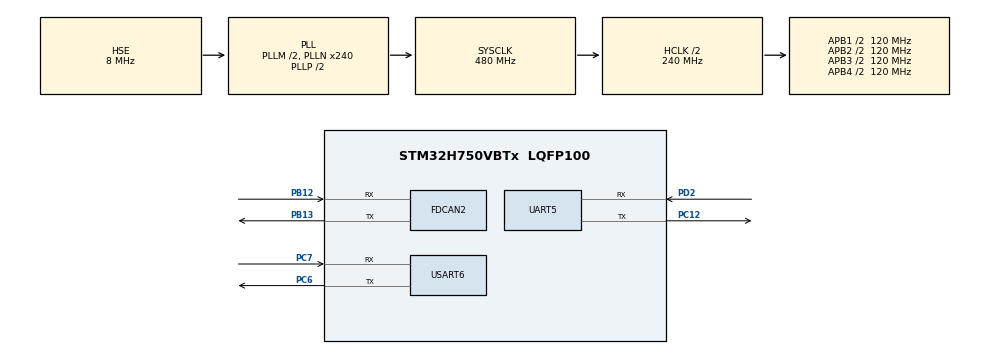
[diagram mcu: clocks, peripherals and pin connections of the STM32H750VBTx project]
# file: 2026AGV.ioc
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CORTEX_M7.AccessPermission-Cortex_Memory_Protection_Unit_Region1_Settings=MPU_REGION_FULL_ACCESS
CORTEX_M7.BaseAddress-Cortex_Memory_Protection_Unit_Region1_Settings=0x30000000
CORTEX_M7.CPU_DCache=Enabled
CORTEX_M7.CPU_ICache=Enabled
CORTEX_M7.DisableExec-Cortex_Memory_Protection_Unit_Region1_Settings=MPU_INSTRUCTION_ACCESS_DISABLE
CORTEX_M7.Enable-Cortex_Memory_Protection_Unit_Region1_Settings=MPU_REGION_ENABLE
CORTEX_M7.IsBufferable-Cortex_Memory_Protection_Unit_Region1_Settings=MPU_ACCESS_NOT_BUFFERABLE
CORTEX_M7.IsCacheable-Cortex_Memory_Protection_Unit_Region1_Settings=MPU_ACCESS_NOT_CACHEABLE
CORTEX_M7.IsShareable-Cortex_Memory_Protection_Unit_Region1_Settings=MPU_ACCESS_SHAREABLE
CORTEX_M7.Size-Cortex_Memory_Protection_Unit_Region1_Settings=MPU_REGION_SIZE_256B
CORTEX_M7.TypeExtField-Cortex_Memory_Protection_Unit_Region1_Settings=MPU_TEX_LEVEL1
CORTEX_M7.default_mode_Activation=1
Dma.Request0=UART5_RX
Dma.UART5_RX.0.Direction=DMA_PERIPH_TO_MEMORY
Dma.UART5_RX.0.EventEnable=DISABLE
Dma.UART5_RX.0.FIFOMode=DMA_FIFOMODE_DISABLE
Dma.UART5_RX.0.Instance=DMA1_Stream0
Dma.UART5_RX.0.MemDataAlignment=DMA_MDATAALIGN_BYTE
Dma.UART5_RX.0.MemInc=DMA_MINC_ENABLE
Dma.UART5_RX.0.Mode=DMA_CIRCULAR
Dma.UART5_RX.0.PeriphDataAlignment=DMA_PDATAALIGN_BYTE
Dma.UART5_RX.0.PeriphInc=DMA_PINC_DISABLE
Dma.UART5_RX.0.Polarity=HAL_DMAMUX_REQ_GEN_RISING
Dma.UART5_RX.0.Priority=DMA_PRIORITY_LOW
Dma.UART5_RX.0.RequestNumber=1
Dma.UART5_RX.0.SignalID=NONE
Dma.UART5_RX.0.SyncEnable=DISABLE
Dma.UART5_RX.0.SyncPolarity=HAL_DMAMUX_SYNC_NO_EVENT
Dma.UART5_RX.0.SyncRequestNumber=1
Dma.UART5_RX.0.SyncSignalID=NONE
FDCAN2.AutoRetransmission=ENABLE
FDCAN2.CalculateBaudRateNominal=1000000
FDCAN2.CalculateTimeBitNominal=1000
FDCAN2.CalculateTimeQuantumNominal=50.0
FDCAN2.NominalPrescaler=6
FDCAN2.NominalSyncJumpWidth=4
FDCAN2.NominalTimeSeg1=15
FDCAN2.NominalTimeSeg2=4
FDCAN2.RxFifo0ElmtsNbr=16
FDCAN2.TxFifoQueueElmtsNbr=16
FREERTOS.configCHECK_FOR_STACK_OVERFLOW=2
FREERTOS.Tasks01=IMUTask,40,256,StartIMUTask,Default,NULL,Dynamic,NULL,NULL;ChassisTask,32,512,StartChassisTask,Default,NULL,Dynamic,NULL,NULL
Mcu.Family=STM32H7
Mcu.Name=STM32H750VBTx
Mcu.Package=LQFP100
NVIC.DMA1_Stream0_IRQn=true\:6\:0\:true\:false\:true\:true\:false\:true\:true
NVIC.FDCAN2_IT0_IRQn=true\:5\:0\:true\:false\:true\:true\:true\:true\:true
NVIC.PriorityGroup=NVIC_PRIORITYGROUP_4
NVIC.TIM6_DAC_IRQn=true\:15\:0\:false\:false\:true\:false\:false\:true\:true
NVIC.TimeBase=TIM6_DAC_IRQn
NVIC.TimeBaseIP=TIM6
NVIC.UART5_IRQn=true\:6\:0\:true\:false\:true\:true\:true\:true\:true
NVIC.USART6_IRQn=true\:6\:0\:true\:false\:true\:true\:true\:true\:true
PA13\ (JTMS/SWDIO).Mode=Serial_Wire
PA13\ (JTMS/SWDIO).Signal=DEBUG_JTMS-SWDIO
PA14\ (JTCK/SWCLK).Mode=Serial_Wire
PA14\ (JTCK/SWCLK).Signal=DEBUG_JTCK-SWCLK
PB12.Mode=FDCAN_Activate
PB12.Signal=FDCAN2_RX
PB13.Mode=FDCAN_Activate
PB13.Signal=FDCAN2_TX
PC12.Mode=Asynchronous
PC12.Signal=UART5_TX
PC6.Mode=Asynchronous
PC6.Signal=USART6_TX
PC7.Mode=Asynchronous
PC7.Signal=USART6_RX
PD2.Mode=Asynchronous
PD2.Signal=UART5_RX
PH0-OSC_IN\ (PH0).Mode=HSE-External-Oscillator
PH0-OSC_IN\ (PH0).Signal=RCC_OSC_IN
PH1-OSC_OUT\ (PH1).Mode=HSE-External-Oscillator
PH1-OSC_OUT\ (PH1).Signal=RCC_OSC_OUT
ProjectManager.HeapSize=0x200
ProjectManager.StackSize=0x400
ProjectManager.TargetToolchain=CMake
RCC.ADCFreq_Value=16125000
RCC.APB1Freq_Value=120000000
RCC.APB2Freq_Value=120000000
RCC.APB3Freq_Value=120000000
RCC.APB4Freq_Value=120000000
RCC.CortexFreq_Value=480000000
RCC.D1PPRE=RCC_APB3_DIV2
RCC.D2PPRE1=RCC_APB1_DIV2
RCC.D2PPRE2=RCC_APB2_DIV2
RCC.D3PPRE=RCC_APB4_DIV2
RCC.DIVM1=2
RCC.DIVN1=240
RCC.DIVQ1=8
RCC.HCLKFreq_Value=240000000
RCC.HPRE=RCC_HCLK_DIV2
RCC.HSE_VALUE=8000000
RCC.PLL2FRACN=0
RCC.PLL3FRACN=0
RCC.PLLFRACN=0
RCC.PLLSourceVirtual=RCC_PLLSOURCE_HSE
RCC.SYSCLKFreq_VALUE=480000000
RCC.SYSCLKSource=RCC_SYSCLKSOURCE_PLLCLK
RCC.USBFreq_Value=120000000
UART5.VirtualMode-Asynchronous=VM_ASYNC
USART6.VirtualMode=VM_ASYNC
USART6.VirtualMode-Asynchronous=VM_ASYNC
VP_FREERTOS_VS_CMSIS_V2.Mode=CMSIS_V2
VP_MEMORYMAP_VS_MEMORYMAP.Mode=CurAppReg
VP_SYS_VS_tim6.Mode=TIM6
board=custom

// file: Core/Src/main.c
/* USER CODE BEGIN Header */
/**
  ******************************************************************************
  * @file           : main.c
  * @brief          : Main program body
  ******************************************************************************
  * @attention
  *
  * Copyright (c) 2026 STMicroelectronics.
  * All rights reserved.
  *
  * This software is licensed under terms that can be found in the LICENSE file
  * in the root directory of this software component.
  * If no LICENSE file comes with this software, it is provided AS-IS.
  *
  ******************************************************************************
  */
/* USER CODE END Header */
#include "main.h"
#include "FreeRTOS.h"
#include "cmsis_os2.h"
#include "dma.h"
#include "fdcan.h"
#include "usart.h"
#include "gpio.h"

/* USER CODE BEGIN Includes */
#include "hwt101.h"
#include "zdt_x42s.h"
#include "chassis.h"
#include "chassis_cmd.h"
#include "agv_config.h"
#include "agv_run.h"
#include "competition.h"
#include "arm_app.h"
/* USER CODE END Includes */

/* USER CODE BEGIN PV */
/* 时钟自检。烧录后用调试器读这两个符号：
   g_hse_ok   = 1 表示用的确实是 8 MHz 晶振；= 0 表示晶振没起振、已退回内部 HSI。
   g_sysclk_hz 应该等于 480000000。 */
volatile uint8_t  g_hse_ok = 0;
volatile uint32_t g_sysclk_hz = 0;
/* USER CODE END PV */

void SystemClock_Config(void);
static void MPU_Config(void);
void MX_FREERTOS_Init(void);

int main(void)
{

  /* MPU Configuration--------------------------------------------------------*/
  MPU_Config();

  /* Enable the CPU Cache */

  /* Enable I-Cache---------------------------------------------------------*/
  SCB_EnableICache();

  /* Enable D-Cache---------------------------------------------------------*/
  SCB_EnableDCache();

  /* MCU Configuration--------------------------------------------------------*/

  /* Reset of all peripherals, Initializes the Flash interface and the Systick. */
  HAL_Init();

  /* Configure the system clock */
  SystemClock_Config();

  /* USER CODE BEGIN SysInit */
  /* 能执行到这里说明时钟已经配好了，回读硬件状态记录本次启动用的是哪个源：
     HSERDY=1 → 外部 8 MHz 晶振；=0 → 晶振没起来（此时固件其实已经死在
     SystemClock_Config 的 Error_Handler 里，读到的会一直是初值 0）。 */
  g_hse_ok    = ((RCC->CR & RCC_CR_HSERDY) != 0U) ? 1U : 0U;
  g_sysclk_hz = SystemCoreClock;
  /* USER CODE END SysInit */

  /* Initialize all configured peripherals */
  MX_GPIO_Init();
  MX_DMA_Init();
  MX_FDCAN2_Init();
  MX_USART6_UART_Init();
  MX_UART5_Init();
  /* USER CODE BEGIN 2 */
  if (HWT101_Init(&huart5) != HAL_OK)
  {
    Error_Handler();
  }
  if (Chassis_Init(&hfdcan2) != HAL_OK)   // 内部已含 ZDT_Init 与四轴注册
  {
    Error_Handler();
  }
  Agv_Init(AGV_MODE); // 巡检模式等调试台发 /start <出发区> 才走
#if AGV_MODE == AGV_MODE_COMPETITION
  if (Comp_Init(AGV_START_ZONE) != HAL_OK) // 比赛模式：C1 雷达(USART1) + 视觉上位机(USART2) + 扫码模块(USART3)
  {
    Error_Handler();
  }
#elif AGV_MODE == AGV_MODE_ARM
  if (ArmApp_Init() != HAL_OK) // 机械臂模式：两台关节电机（同一条 CAN）+ 视觉上位机(USART2)
  {
    Error_Handler();
  }
#endif
  if (ChassisCmd_Init(&huart6) != HAL_OK) // USART6 接收定距移动命令
  {
    Error_Handler();
  }
  /* USER CODE END 2 */

  /* Init scheduler */
  osKernelInitialize();  /* Call init function for freertos objects (in cmsis_os2.c) */
  MX_FREERTOS_Init();

  /* Start scheduler */
  osKernelStart();

  /* We should never get here as control is now taken by the scheduler */

  /* Infinite loop */
  while (1)
  {

  }
}

void SystemClock_Config(void)
{
  RCC_OscInitTypeDef RCC_OscInitStruct = {0};
  RCC_ClkInitTypeDef RCC_ClkInitStruct = {0};

  /** Supply configuration update enable
  */
  HAL_PWREx_ConfigSupply(PWR_LDO_SUPPLY);

  /** Configure the main internal regulator output voltage
  */
  __HAL_PWR_VOLTAGESCALING_CONFIG(PWR_REGULATOR_VOLTAGE_SCALE0);

  while(!__HAL_PWR_GET_FLAG(PWR_FLAG_VOSRDY)) {}

  /** Initializes the RCC Oscillators according to the specified parameters
  * in the RCC_OscInitTypeDef structure.
  */
  RCC_OscInitStruct.OscillatorType = RCC_OSCILLATORTYPE_HSE;
  RCC_OscInitStruct.HSEState = RCC_HSE_ON;
  RCC_OscInitStruct.PLL.PLLState = RCC_PLL_ON;
  RCC_OscInitStruct.PLL.PLLSource = RCC_PLLSOURCE_HSE;
  RCC_OscInitStruct.PLL.PLLM = 2;
  RCC_OscInitStruct.PLL.PLLN = 240;
  RCC_OscInitStruct.PLL.PLLP = 2;
  RCC_OscInitStruct.PLL.PLLQ = 8;
  RCC_OscInitStruct.PLL.PLLR = 2;
  RCC_OscInitStruct.PLL.PLLRGE = RCC_PLL1VCIRANGE_2;
  RCC_OscInitStruct.PLL.PLLVCOSEL = RCC_PLL1VCOWIDE;
  RCC_OscInitStruct.PLL.PLLFRACN = 0;
  if (HAL_RCC_OscConfig(&RCC_OscInitStruct) != HAL_OK)
  {
    Error_Handler();
  }

  /** Initializes the CPU, AHB and APB buses clocks
  */
  RCC_ClkInitStruct.ClockType = RCC_CLOCKTYPE_HCLK|RCC_CLOCKTYPE_SYSCLK
                              |RCC_CLOCKTYPE_PCLK1|RCC_CLOCKTYPE_PCLK2
                              |RCC_CLOCKTYPE_D3PCLK1|RCC_CLOCKTYPE_D1PCLK1;
  RCC_ClkInitStruct.SYSCLKSource = RCC_SYSCLKSOURCE_PLLCLK;
  RCC_ClkInitStruct.SYSCLKDivider = RCC_SYSCLK_DIV1;
  RCC_ClkInitStruct.AHBCLKDivider = RCC_HCLK_DIV2;
  RCC_ClkInitStruct.APB3CLKDivider = RCC_APB3_DIV2;
  RCC_ClkInitStruct.APB1CLKDivider = RCC_APB1_DIV2;
  RCC_ClkInitStruct.APB2CLKDivider = RCC_APB2_DIV2;
  RCC_ClkInitStruct.APB4CLKDivider = RCC_APB4_DIV2;

  if (HAL_RCC_ClockConfig(&RCC_ClkInitStruct, FLASH_LATENCY_4) != HAL_OK)
  {
    Error_Handler();
  }
}

 /* MPU Configuration */

void MPU_Config(void)
{
  MPU_Region_InitTypeDef MPU_InitStruct = {0};

  /* Disables the MPU */
  HAL_MPU_Disable();

  /** Initializes and configures the Region and the memory to be protected
  */
  MPU_InitStruct.Enable = MPU_REGION_ENABLE;
  MPU_InitStruct.Number = MPU_REGION_NUMBER0;
  MPU_InitStruct.BaseAddress = 0x0;
  MPU_InitStruct.Size = MPU_REGION_SIZE_4GB;
  MPU_InitStruct.SubRegionDisable = 0x87;
  MPU_InitStruct.TypeExtField = MPU_TEX_LEVEL0;
  MPU_InitStruct.AccessPermission = MPU_REGION_NO_ACCESS;
  MPU_InitStruct.DisableExec = MPU_INSTRUCTION_ACCESS_DISABLE;
  MPU_InitStruct.IsShareable = MPU_ACCESS_SHAREABLE;
  MPU_InitStruct.IsCacheable = MPU_ACCESS_NOT_CACHEABLE;
  MPU_InitStruct.IsBufferable = MPU_ACCESS_NOT_BUFFERABLE;

  HAL_MPU_ConfigRegion(&MPU_InitStruct);

  /** Initializes and configures the Region and the memory to be protected
  */
  MPU_InitStruct.Number = MPU_REGION_NUMBER1;
  MPU_InitStruct.BaseAddress = 0x30000000;
  MPU_InitStruct.Size = MPU_REGION_SIZE_256B;
  MPU_InitStruct.SubRegionDisable = 0x0;
  MPU_InitStruct.TypeExtField = MPU_TEX_LEVEL1;
  MPU_InitStruct.AccessPermission = MPU_REGION_FULL_ACCESS;

  HAL_MPU_ConfigRegion(&MPU_InitStruct);
  /* Enables the MPU */
  HAL_MPU_Enable(MPU_PRIVILEGED_DEFAULT);

}

void HAL_TIM_PeriodElapsedCallback(TIM_HandleTypeDef *htim)
{
  if (htim->Instance == TIM6)
  {
    HAL_IncTick();
  }
}

void Error_Handler(void)
{
  __disable_irq();
  while (1)
  {
  }
}

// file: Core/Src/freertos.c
/* USER CODE BEGIN Header */
/**
  ******************************************************************************
  * File Name          : freertos.c
  * Description        : Code for freertos applications
  ******************************************************************************
  * @attention
  *
  * Copyright (c) 2026 STMicroelectronics.
  * All rights reserved.
  *
  * This software is licensed under terms that can be found in the LICENSE file
  * in the root directory of this software component.
  * If no LICENSE file comes with this software, it is provided AS-IS.
  *
  ******************************************************************************
  */
/* USER CODE END Header */

#include "FreeRTOS.h"
#include "task.h"
#include "main.h"
#include "FreeRTOS.h"
#include "cmsis_os2.h"

/* USER CODE BEGIN Includes */
#include "hwt101.h"
#include "zdt_x42s.h"
#include "chassis.h"
#include "chassis_cmd.h"
#include "agv_run.h"
#include "competition.h"
#include "arm_app.h"
#include "tune_log.h"
/* USER CODE END Includes */

/* USER CODE BEGIN Variables */
#define IMU_RX_FLAG      0x0001U
#define IMU_WAIT_TIMEOUT 10U /* ms，兜底：串口停流时也定期检查 DMA 重启 */
volatile const char *stack_overflow_task; /* 调试器查看溢出的任务名 */

/* USER CODE END Variables */
/* Definitions for IMUTask */
osThreadId_t IMUTaskHandle;
const osThreadAttr_t IMUTask_attributes = {
  .name = "IMUTask",
  .stack_size = 256 * 4,
  .priority = (osPriority_t) osPriorityHigh,
};
/* Definitions for ChassisTask */
osThreadId_t ChassisTaskHandle;
const osThreadAttr_t ChassisTask_attributes = {
  .name = "ChassisTask",
  .stack_size = 512 * 4,
  .priority = (osPriority_t) osPriorityAboveNormal,
};

/* USER CODE BEGIN FunctionPrototypes */
static void IMU_RxNotify(void);

/* USER CODE END FunctionPrototypes */

void StartIMUTask(void *argument);
void StartChassisTask(void *argument);

void MX_FREERTOS_Init(void); /* (MISRA C 2004 rule 8.1) */

/* Hook prototypes */
void vApplicationStackOverflowHook(TaskHandle_t xTask, char *pcTaskName);

/* USER CODE BEGIN 4 */
/* 栈溢出：尽力让所有电机（四个轮子、机械臂）立即停止（FDCAN 由硬件发送，不依赖 RTOS），然后停机等调试。 */
void vApplicationStackOverflowHook(TaskHandle_t xTask, char *pcTaskName)
{
  (void)xTask;
  taskDISABLE_INTERRUPTS();
  stack_overflow_task = pcTaskName;
  ZDT_EmergencyStop();
  for (;;)
  {
  }
}
/* USER CODE END 4 */

void MX_FREERTOS_Init(void) {

  /* Create the thread(s) */
  /* creation of IMUTask */
  IMUTaskHandle = osThreadNew(StartIMUTask, NULL, &IMUTask_attributes);

  /* creation of ChassisTask */
  ChassisTaskHandle = osThreadNew(StartChassisTask, NULL, &ChassisTask_attributes);

}

void StartIMUTask(void *argument)
{
  /* USER CODE BEGIN StartIMUTask */
  (void)argument;
  HWT101_SetRxHook(IMU_RxNotify);
  /* Infinite loop */
  for(;;)
  {
    /* 串口中断收到数据后才唤醒，不再 1 ms 空转轮询。 */
    (void)osThreadFlagsWait(IMU_RX_FLAG, osFlagsWaitAny, IMU_WAIT_TIMEOUT);
    HWT101_ProcessData(&huart5, &imu);
  }
  /* USER CODE END StartIMUTask */
}

void StartChassisTask(void *argument)
{
  /* USER CODE BEGIN StartChassisTask */
  (void)argument;

  const uint32_t period = (osKernelGetTickFreq() * CHASSIS_PERIOD_US) / 1000000U;

  uint32_t next_tick = osKernelGetTickCount();

  for (;;) {
    Chassis_Update();

    TuneLog_Tick();

    ChassisCmd_Poll();

    Agv_Tick();

#if AGV_MODE == AGV_MODE_COMPETITION
    Comp_Tick();
#elif AGV_MODE == AGV_MODE_ARM
    ArmApp_Tick();
#endif

    Chassis_CycleEnd();

    next_tick += period;

    if ((int32_t)(next_tick - osKernelGetTickCount()) <= 0)
      next_tick = osKernelGetTickCount() + period;

    (void)osDelayUntil(next_tick);
  }
  /* USER CODE END StartChassisTask */
}

/* USER CODE BEGIN Application */
static void IMU_RxNotify(void)
{
  (void)osThreadFlagsSet(IMUTaskHandle, IMU_RX_FLAG);
}

/* USER CODE END Application */
